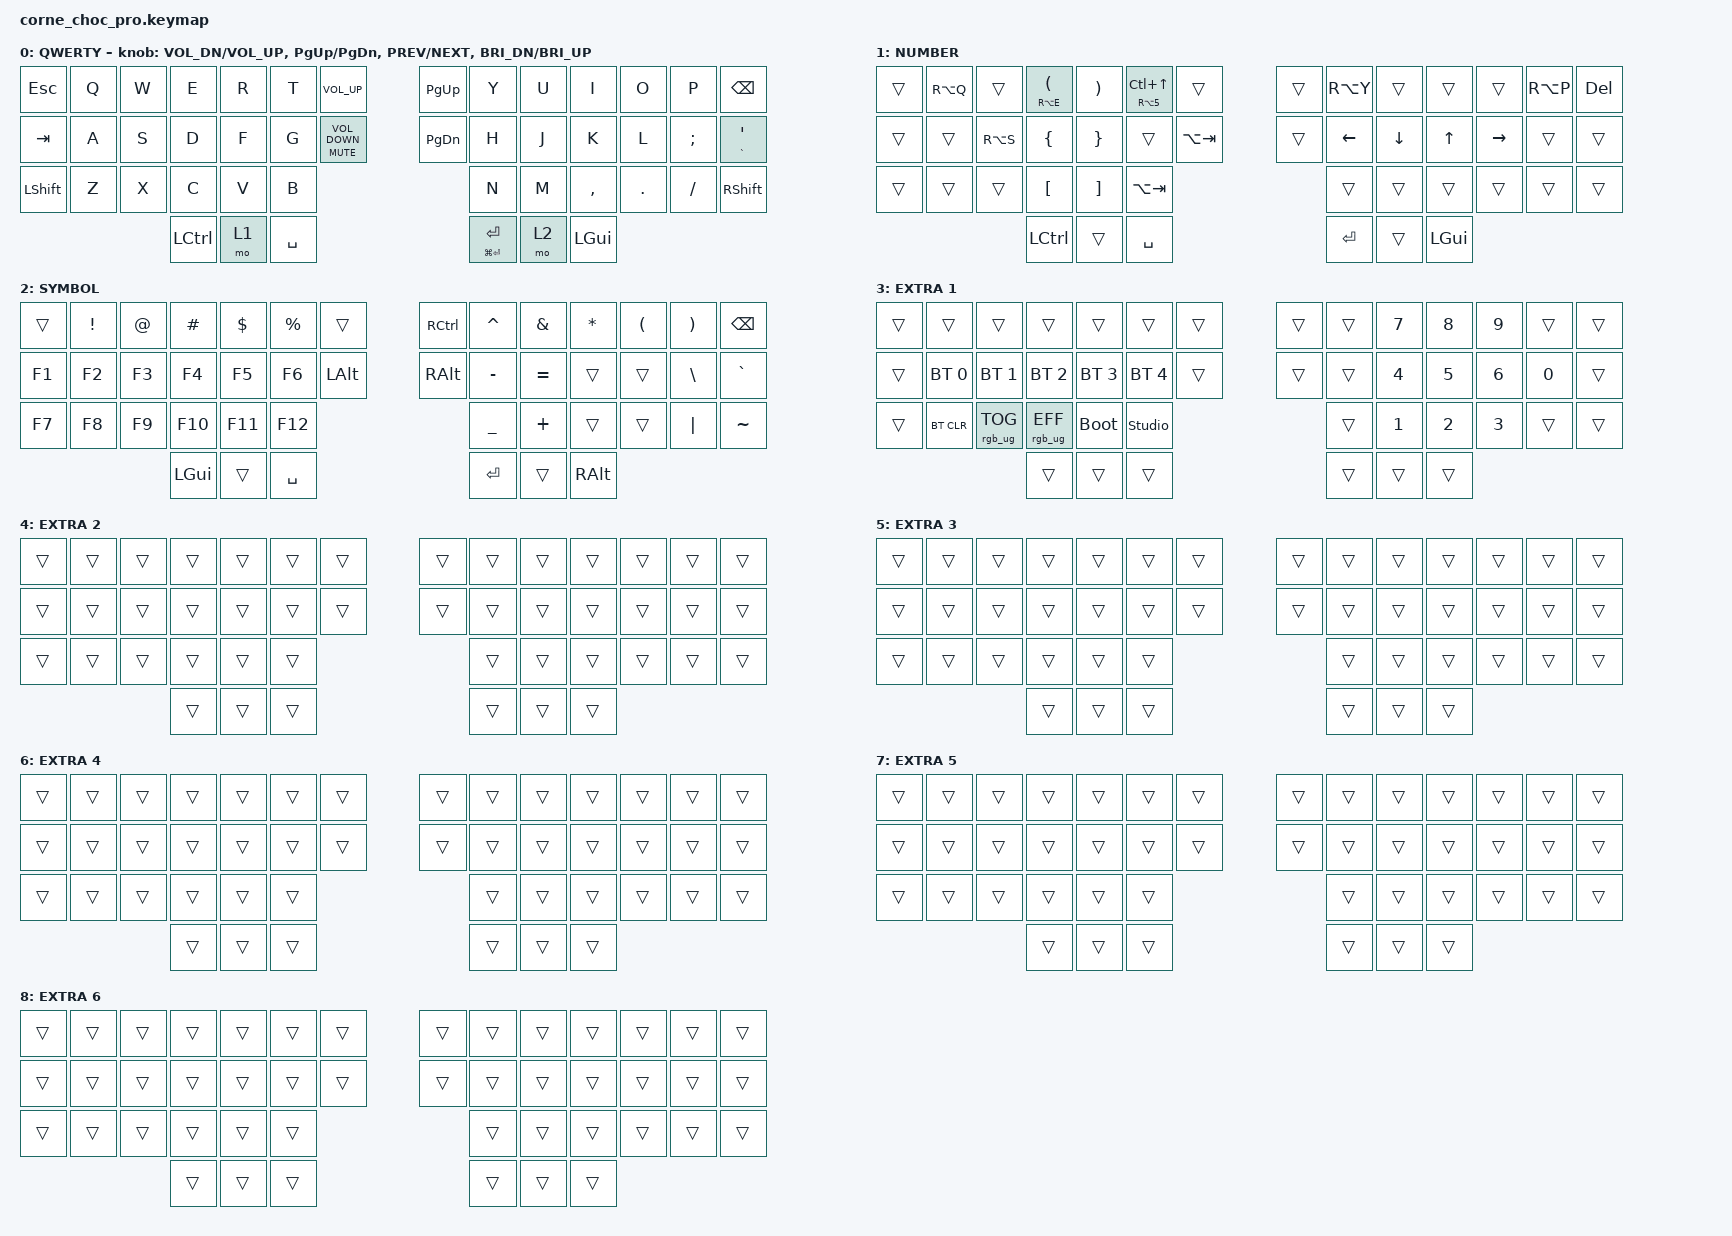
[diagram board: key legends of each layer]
/*
 * Copyright (c) 2020 The ZMK Contributors
 *
 * SPDX-License-Identifier: MIT
 */

#include <behaviors.dtsi>
#include <dt-bindings/zmk/bt.h>
#include <dt-bindings/zmk/keys.h>
#include <dt-bindings/zmk/rgb.h>

/ {
    chosen { zmk,physical-layout = &default_layout; };
};

/ {
    keymap {
        compatible = "zmk,keymap";

        default_layer {
            display-name = "QWERTY";

            // --------------------------------------------------------------------------------
            // |  TAB |  Q  |  W  |  E  |  R  |  T  |  MUTE |  PP   |  Y  |  U   |  I  |  O  |  P  | BSPC |
            // | CTRL |  A  |  S  |  D  |  F  |  G  |  LALT |  RALT |  H  |  J   |  K  |  L  |  ;  |  '   |
            // | SHFT |  Z  |  X  |  C  |  V  |  B  |               |  N  |  M   |  ,  |  .  |  /  | ESC  |
            //                    | GUI | LWR | SPC |               | ENT | RSE  | ALT |

            bindings = <
&kp ESCAPE  &kp Q  &kp W  &kp E      &kp R  &kp T      &kp C_VOLUME_UP           &kp PAGE_UP    &kp Y            &kp U  &kp I      &kp O    &kp P     &kp BSPC
&kp TAB     &kp A  &kp S  &kp D      &kp F  &kp G      &mt K_MUTE K_VOLUME_DOWN  &kp PAGE_DOWN  &kp H            &kp J  &kp K      &kp L    &kp SEMI  &mt GRAVE SQT
&kp LSHFT   &kp Z  &kp X  &kp C      &kp V  &kp B                                               &kp N            &kp M  &kp COMMA  &kp DOT  &kp FSLH  &kp RIGHT_SHIFT
                          &kp LCTRL  &mo 1  &kp SPACE                                           &mt LG(RET) RET  &mo 2  &kp LGUI
            >;

            sensor-bindings = <&inc_dec_kp C_VOL_DN C_VOL_UP &inc_dec_kp PG_UP PG_DN &inc_dec_kp C_PREV C_NEXT &inc_dec_kp C_BRI_DN C_BRI_UP>;
        };

        lower_layer {
            display-name = "NUMBER";

            // -----------------------------------------------------------------------------------------
            // |  TAB |  1  |  2  |  3  |  4  |  5    |  LCTRL | RCTRL |  6  |  7  |  8  |  9  |  0  | BSPC |
            // | CTRL | BT1 | BT2 | BT3 | BT4 | BT5   |  LALT  | RALT  | LFT | DWN |  UP | RGT |     |      |
            // | SHFT | BTCR| RGB | RST | BOOT| Unlock|        |       |     |     |     |     |     |      |
            //                    | GUI |     | SPC   |        | ENT   |     | ALT |

            bindings = <
&trans  &kp RA(Q)  &trans     &mt RA(E) LEFT_PARENTHESIS  &kp RIGHT_PARENTHESIS  &mt RA(N5) LC(UP_ARROW)  &trans       &trans  &kp RA(Y)  &trans    &trans    &trans     &kp RA(P)  &kp DEL
&trans  &trans     &kp RA(S)  &kp LEFT_BRACE              &kp RIGHT_BRACE        &trans                   &kp LA(TAB)  &trans  &kp LEFT   &kp DOWN  &kp UP    &kp RIGHT  &trans     &trans
&trans  &trans     &trans     &kp LEFT_BRACKET            &kp RIGHT_BRACKET      &kp LA(TAB)                                   &trans     &trans    &trans    &trans     &trans     &trans
                              &kp LCTRL                   &trans                 &kp SPACE                                     &kp ENTER  &trans    &kp LGUI
            >;
        };

        raise_layer {
            display-name = "SYMBOL";

            // -----------------------------------------------------------------------------------------
            // |  TAB |  !  |  @  |  #  |  $  |  %  | LCTRL | RCTRL |  ^  |  &  |  *  |  (  |  )  | BSPC |
            // | CTRL |     |     |     |     |     |  LALT | RALT  |  -  |  =  |  [  |  ]  |  \  |  `   |
            // | SHFT |     |     |     |     |     |               |  _  |  +  |  {  |  }  | "|" |  ~   |
            //                    | GUI |     | SPC |               | ENT |     | ALT |

            bindings = <
&trans  &kp EXCL  &kp AT  &kp HASH  &kp DLLR  &kp PRCNT  &trans    &kp RCTRL  &kp CARET  &kp AMPS   &kp ASTRK  &kp LPAR  &kp RPAR  &kp BSPC
&kp F1  &kp F2    &kp F3  &kp F4    &kp F5    &kp F6     &kp LALT  &kp RALT   &kp MINUS  &kp EQUAL  &trans     &trans    &kp BSLH  &kp GRAVE
&kp F7  &kp F8    &kp F9  &kp F10   &kp F11   &kp F12                         &kp UNDER  &kp PLUS   &trans     &trans    &kp PIPE  &kp TILDE
                          &kp LGUI  &trans    &kp SPACE                       &kp RET    &trans     &kp RALT
            >;
        };

        extra_layer_1 {
            display-name = "EXTRA 1";
            bindings = <
&trans  &trans        &trans           &trans           &trans        &trans          &trans  &trans  &trans  &kp N7        &kp N8        &kp N9        &trans  &trans
&trans  &bt BT_SEL 0  &bt BT_SEL 1     &bt BT_SEL 2     &bt BT_SEL 3  &bt BT_SEL 4    &trans  &trans  &trans  &kp NUMBER_4  &kp N5        &kp NUMBER_6  &kp N0  &trans
&trans  &bt BT_CLR    &rgb_ug RGB_TOG  &rgb_ug RGB_EFF  &bootloader   &studio_unlock                  &trans  &kp NUMBER_1  &kp NUMBER_2  &kp NUMBER_3  &trans  &trans
                                       &trans           &trans        &trans                          &trans  &trans        &trans
            >;
        };

        extra_layer_2 {
            display-name = "EXTRA 2";
            bindings = <
&trans  &trans  &trans  &trans  &trans  &trans  &trans  &trans  &trans  &trans  &trans  &trans  &trans  &trans
&trans  &trans  &trans  &trans  &trans  &trans  &trans  &trans  &trans  &trans  &trans  &trans  &trans  &trans
&trans  &trans  &trans  &trans  &trans  &trans                  &trans  &trans  &trans  &trans  &trans  &trans
                        &trans  &trans  &trans                  &trans  &trans  &trans
            >;
        };

        extra_layer_3 {
            display-name = "EXTRA 3";
            bindings = <
&trans  &trans  &trans  &trans  &trans  &trans  &trans  &trans  &trans  &trans  &trans  &trans  &trans  &trans
&trans  &trans  &trans  &trans  &trans  &trans  &trans  &trans  &trans  &trans  &trans  &trans  &trans  &trans
&trans  &trans  &trans  &trans  &trans  &trans                  &trans  &trans  &trans  &trans  &trans  &trans
                        &trans  &trans  &trans                  &trans  &trans  &trans
            >;
        };

        extra_layer_4 {
            display-name = "EXTRA 4";
            bindings = <
&trans  &trans  &trans  &trans  &trans  &trans  &trans  &trans  &trans  &trans  &trans  &trans  &trans  &trans
&trans  &trans  &trans  &trans  &trans  &trans  &trans  &trans  &trans  &trans  &trans  &trans  &trans  &trans
&trans  &trans  &trans  &trans  &trans  &trans                  &trans  &trans  &trans  &trans  &trans  &trans
                        &trans  &trans  &trans                  &trans  &trans  &trans
            >;
        };

        extra_layer_5 {
            display-name = "EXTRA 5";
            bindings = <
&trans  &trans  &trans  &trans  &trans  &trans  &trans  &trans  &trans  &trans  &trans  &trans  &trans  &trans
&trans  &trans  &trans  &trans  &trans  &trans  &trans  &trans  &trans  &trans  &trans  &trans  &trans  &trans
&trans  &trans  &trans  &trans  &trans  &trans                  &trans  &trans  &trans  &trans  &trans  &trans
                        &trans  &trans  &trans                  &trans  &trans  &trans
            >;
        };

        extra_layer_6 {
            display-name = "EXTRA 6";
            bindings = <
&trans  &trans  &trans  &trans  &trans  &trans  &trans  &trans  &trans  &trans  &trans  &trans  &trans  &trans
&trans  &trans  &trans  &trans  &trans  &trans  &trans  &trans  &trans  &trans  &trans  &trans  &trans  &trans
&trans  &trans  &trans  &trans  &trans  &trans                  &trans  &trans  &trans  &trans  &trans  &trans
                        &trans  &trans  &trans                  &trans  &trans  &trans
            >;
        };
    };

    conditional_layers {
        compatible = "zmk,conditional-layers";

        Layer3 {
            if-layers = <1 2>;
            then-layer = <3>;
        };
    };
};
